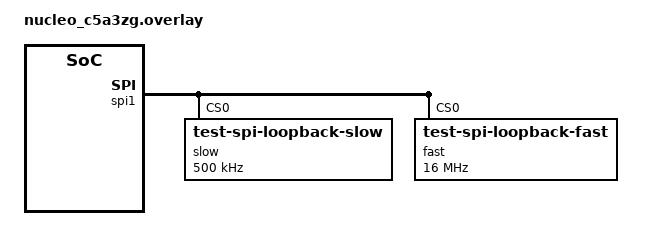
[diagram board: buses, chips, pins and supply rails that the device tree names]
/*
 * Copyright (c) 2026 STMicroelectronics
 *
 * SPDX-License-Identifier: Apache-2.0
 */

&spi1 {
	dmas = <&lpdma1 0 5 0
		&lpdma1 1 4 0>;
	dma-names = "tx", "rx";
	st,fifo-threshold = <8>;

	slow@0 {
		compatible = "test-spi-loopback-slow";
		reg = <0>;
		spi-max-frequency = <500000>;
	};

	fast@0 {
		compatible = "test-spi-loopback-fast";
		reg = <0>;
		spi-max-frequency = <16000000>;
	};
};
